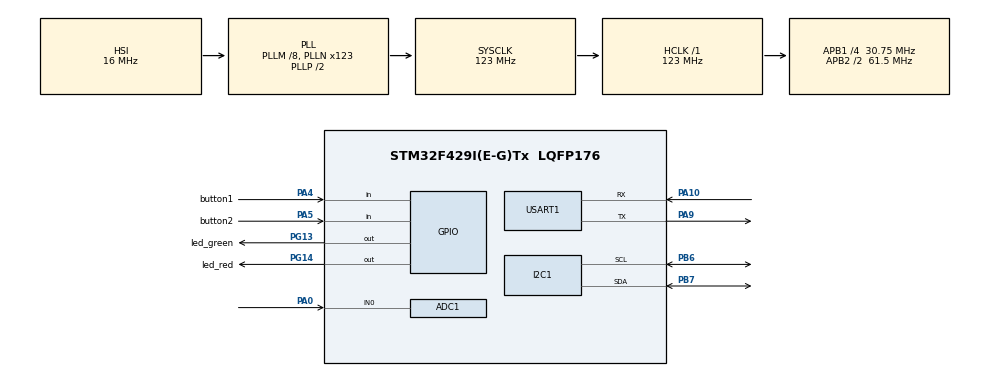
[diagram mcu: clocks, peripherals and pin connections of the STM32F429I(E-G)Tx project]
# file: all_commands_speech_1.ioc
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ADC1.Channel-0\#ChannelRegularConversion=ADC_CHANNEL_0
ADC1.ClockPrescaler=ADC_CLOCK_SYNC_PCLK_DIV8
ADC1.ContinuousConvMode=ENABLE
ADC1.DMAContinuousRequests=ENABLE
ADC1.NbrOfConversion=1
ADC1.NbrOfConversionFlag=1
ADC1.Rank-0\#ChannelRegularConversion=1
ADC1.SamplingTime-0\#ChannelRegularConversion=ADC_SAMPLETIME_480CYCLES
ADC1.master=1
Dma.ADC1.0.Direction=DMA_PERIPH_TO_MEMORY
Dma.ADC1.0.FIFOMode=DMA_FIFOMODE_DISABLE
Dma.ADC1.0.Instance=DMA2_Stream0
Dma.ADC1.0.MemDataAlignment=DMA_MDATAALIGN_HALFWORD
Dma.ADC1.0.MemInc=DMA_MINC_ENABLE
Dma.ADC1.0.Mode=DMA_NORMAL
Dma.ADC1.0.PeriphDataAlignment=DMA_PDATAALIGN_HALFWORD
Dma.ADC1.0.PeriphInc=DMA_PINC_DISABLE
Dma.ADC1.0.Priority=DMA_PRIORITY_LOW
Dma.Request0=ADC1
Mcu.Family=STM32F4
Mcu.Name=STM32F429I(E-G)Tx
Mcu.Package=LQFP176
NVIC.ADC_IRQn=true\:0\:0\:false\:false\:true\:true\:true\:true
NVIC.DMA2_Stream0_IRQn=true\:0\:0\:false\:false\:true\:false\:true\:true
NVIC.PriorityGroup=NVIC_PRIORITYGROUP_4
PA0/WKUP.Signal=ADCx_IN0
PA10.Mode=Asynchronous
PA10.Signal=USART1_RX
PA13.Mode=Serial_Wire
PA13.Signal=SYS_JTMS-SWDIO
PA14.Mode=Serial_Wire
PA14.Signal=SYS_JTCK-SWCLK
PA4.GPIO_Label=button1
PA4.GPIO_PuPd=GPIO_PULLUP
PA4.Signal=GPIO_Input
PA5.GPIO_Label=button2
PA5.GPIO_PuPd=GPIO_PULLUP
PA5.Signal=GPIO_Input
PA9.Mode=Asynchronous
PA9.Signal=USART1_TX
PB6.Mode=I2C
PB6.Signal=I2C1_SCL
PB7.Mode=I2C
PB7.Signal=I2C1_SDA
PG13.GPIO_Label=led_green
PG13.Signal=GPIO_Output
PG14.GPIO_Label=led_red
PG14.Signal=GPIO_Output
ProjectManager.HeapSize=0x800
ProjectManager.StackSize=0x800
ProjectManager.TargetToolchain=MDK-ARM V5.32
RCC.48MHZClocksFreq_Value=61500000
RCC.AHBFreq_Value=123000000
RCC.APB1CLKDivider=RCC_HCLK_DIV4
RCC.APB1Freq_Value=30750000
RCC.APB1TimFreq_Value=61500000
RCC.APB2CLKDivider=RCC_HCLK_DIV2
RCC.APB2Freq_Value=61500000
RCC.APB2TimFreq_Value=123000000
RCC.CortexFreq_Value=123000000
RCC.HCLKFreq_Value=123000000
RCC.HSE_VALUE=25000000
RCC.HSI_VALUE=16000000
RCC.LSE_VALUE=32768
RCC.PLLM=8
RCC.PLLN=123
RCC.SYSCLKFreq_VALUE=123000000
RCC.SYSCLKSource=RCC_SYSCLKSOURCE_PLLCLK
RCC.VCOOutputFreq_Value=246000000
SH.ADCx_IN0.0=ADC1_IN0,IN0
STMicroelectronics.X-CUBE-AI.8.1.0.ActivationBufferSizeList=16808
STMicroelectronics.X-CUBE-AI.8.1.0.ActivationBuffers=pool0
STMicroelectronics.X-CUBE-AI.8.1.0.ActivationNames=pool0
STMicroelectronics.X-CUBE-AI.8.1.0.ActivationSizes=AI_SPEECH_MODEL_DATA_ACTIVATION_1_SIZE
STMicroelectronics.X-CUBE-AI.8.1.0.ApplicationCcDeviceJjApplication=ApplicationTemplate
STMicroelectronics.X-CUBE-AI.8.1.0.HeapSize=0x800
STMicroelectronics.X-CUBE-AI.8.1.0.InternalRamActivationBufferMaxSize=AI_SPEECH_MODEL_DATA_ACTIVATIONS_SIZE
STMicroelectronics.X-CUBE-AI.8.1.0.LatestDirectoryUsed-de85f7ff48d45f626f40a739e4144be6b33b646d886b88fbe4cd4896c74ca420=D\:\\stm\\data
STMicroelectronics.X-CUBE-AI.8.1.0.MaximumNumberOfInputLayer=1
STMicroelectronics.X-CUBE-AI.8.1.0.MaximumNumberOfOutputLayer=1
STMicroelectronics.X-CUBE-AI.8.1.0.MaximumSizeOfInputLayer=1
STMicroelectronics.X-CUBE-AI.8.1.0.MaximumSizeOfOutputLayer=1
STMicroelectronics.X-CUBE-AI.8.1.0.ModelActualCompression-de85f7ff48d45f626f40a739e4144be6b33b646d886b88fbe4cd4896c74ca420=0.0
STMicroelectronics.X-CUBE-AI.8.1.0.ModelCompression-de85f7ff48d45f626f40a739e4144be6b33b646d886b88fbe4cd4896c74ca420=None
STMicroelectronics.X-CUBE-AI.8.1.0.ModelFlashOccupation-de85f7ff48d45f626f40a739e4144be6b33b646d886b88fbe4cd4896c74ca420=191746
STMicroelectronics.X-CUBE-AI.8.1.0.ModelHashList=de85f7ff48d45f626f40a739e4144be6b33b646d886b88fbe4cd4896c74ca420
STMicroelectronics.X-CUBE-AI.8.1.0.ModelKind-de85f7ff48d45f626f40a739e4144be6b33b646d886b88fbe4cd4896c74ca420=TFLITE
STMicroelectronics.X-CUBE-AI.8.1.0.ModelMacc-de85f7ff48d45f626f40a739e4144be6b33b646d886b88fbe4cd4896c74ca420=243888
STMicroelectronics.X-CUBE-AI.8.1.0.ModelName-de85f7ff48d45f626f40a739e4144be6b33b646d886b88fbe4cd4896c74ca420=speech_model
STMicroelectronics.X-CUBE-AI.8.1.0.ModelNameList=speech_model
STMicroelectronics.X-CUBE-AI.8.1.0.ModelRamOccupation-de85f7ff48d45f626f40a739e4144be6b33b646d886b88fbe4cd4896c74ca420=16808
STMicroelectronics.X-CUBE-AI.8.1.0.ModelStructureFile-de85f7ff48d45f626f40a739e4144be6b33b646d886b88fbe4cd4896c74ca420=D\:\\stm\\data\\speech-commands-model-not.tflite
STMicroelectronics.X-CUBE-AI.8.1.0.ModelType-de85f7ff48d45f626f40a739e4144be6b33b646d886b88fbe4cd4896c74ca420=STM32Cube.AI runtime
STMicroelectronics.X-CUBE-AI.8.1.0.ReadyForCodeGeneration=true
STMicroelectronics.X-CUBE-AI.8.1.0.StackSize=0x800
STMicroelectronics.X-CUBE-AI.8.1.0.WorkingBufferStartAddrList=0xFFFFFFFF
STMicroelectronics.X-CUBE-AI.8.1.0.XAaCUBEAaAICcArtificialOoIntelligenceJjCore=true
STMicroelectronics.X-CUBE-AI.8.1.0.copyWeightToRam=false
STMicroelectronics.X-CUBE-AI.8.1.0.customLayerConfigEnabled=false
STMicroelectronics.X-CUBE-AI.8.1.0.noOnnxIoTranspose=false
STMicroelectronics.X-CUBE-AI.8.1.0.useInputAllocation=true
STMicroelectronics.X-CUBE-AI.8.1.0.useOutputAllocation=true
TIM1.Prescaler=123-1
USART1.VirtualMode=VM_ASYNC
VP_CRC_VS_CRC.Mode=CRC_Activate
VP_STMicroelectronics.X-CUBE-AI_VS_ArtificialOoIntelligenceJjXAaCUBEAaAI_8.1.0.Mode=ArtificialOoIntelligenceJjXAaCUBEAaAI
VP_STMicroelectronics.X-CUBE-AI_VS_DeviceJjApplication_8.1.0.Mode=DeviceJjApplication
VP_TIM1_VS_ClockSourceINT.Mode=Internal
board=custom

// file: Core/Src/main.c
/* USER CODE BEGIN Header */
/**
  ******************************************************************************
  * @file           : main.c
  * @brief          : Main program body
  ******************************************************************************
  * @attention
  *
  * Copyright (c) 2024 STMicroelectronics.
  * All rights reserved.
  *
  * This software is licensed under terms that can be found in the LICENSE file
  * in the root directory of this software component.
  * If no LICENSE file comes with this software, it is provided AS-IS.
  *
  ******************************************************************************
  */
/* USER CODE END Header */
#include "main.h"
#include "app_x-cube-ai.h"

/* USER CODE BEGIN Includes */
#include "stdlib.h"
#include "string.h"
#include "stdio.h"
#include "arm_math.h"
//#include "math_helper.h"
#include "feature_extraction.h"

#include "speech_model.h"
#include "speech_model_data.h"

#include "i2c-lcd.h"
/* USER CODE END Includes */

/* USER CODE BEGIN PTD */
#define SAMPLE_RATE  16000U

/* Number of FFT points. It must be greater or equal to FRAME_LEN */
#define FFT_LEN       2048U

/* Window length and then padded with zeros to match FFT_LEN */
#define FRAME_LEN   FFT_LEN

/* Number of overlapping samples between successive frames */
#define HOP_LEN        512U

/* Number of Mel bands */
#define NUM_MELS       128U

/* Number of Mel filter weights. Returned by MelFilterbank_Init */
#define NUM_MEL_COEFS 2020U

/* Number of MFCCs to return */
#define NUM_MFCC        16U

#define PCM_BUFFER_SIZE 15872
#define DICTIONARY_SIZE 38
/* USER CODE END PTD */

/* USER CODE BEGIN PD */
const char _BACKGROUND_NOISE_[] = "_background_noise_";
const char _SILENCE_[] = "_silence_";
const char _UNKNOWN_[] = "_unknown_";
const char BACKWARD[] = "backward";
const char BED[] = "bed";
const char BIRD[] = "bird";
const char CAT[] = "cat";
const char DOG[] = "dog";
const char DOWN[] = "down";
const char EIGHT[] = "eight";
const char FIVE[] = "five";
const char FOLLOW[] = "follow";
const char FORWARD[] = "forward";
const char FOUR[] = "four";
const char GO[] = "go";
const char HAPPY[] = "happy";
const char HOUSE[] = "house";
const char LEARN[] = "learn";
const char LEFT[] = "left";
const char MARVIN[] = "marvin";
const char NINE[] = "nine";
const char NO[] = "no";
const char OFF[] = "off";
const char ON[] = "on";
const char ONE[] = "one";
const char RIGHT[] = "right";
const char SEVEN[] = "seven";
const char SHEILA[] = "sheila";
const char SIX[] = "six";
const char STOP[] = "stop";
const char THREE[] = "three";
const char TREE[] = "tree";
const char TWO[] = "two";
const char UP[] = "up";
const char VISUAL[] = "visual";
const char WOW[] = "wow";
const char YES[] = "yes";
const char ZERO[] = "zero";

static const char *dictionary[DICTIONARY_SIZE] = { _BACKGROUND_NOISE_,
		_SILENCE_, _UNKNOWN_, BACKWARD, BED, BIRD, CAT, DOG, DOWN, EIGHT, FIVE,
		FOLLOW, FORWARD, FOUR, GO, HAPPY, HOUSE, LEARN, LEFT, MARVIN, NINE, NO,
		OFF, ON, ONE, RIGHT, SEVEN, SHEILA, SIX, STOP, THREE, TREE, TWO, UP,
		VISUAL, WOW, YES, ZERO };

char data[50];
		/* Instance for floating-point RFFT/RIFFT */
arm_rfft_fast_instance_f32 rfft;

/* Instance for the floating-point MelFilterbank function */
MelFilterTypeDef mel_filter;

/* Instance for the floating-point DCT functions */
DCT_InstanceTypeDef dct;

/* Instance for the floating-point Spectrogram function */
SpectrogramTypeDef spectrogram;

/* Instance for the floating-point MelSpectrogram function */
MelSpectrogramTypeDef mel_spectrogram;

/* Instance for the floating-point Log-MelSpectrogram function */
LogMelSpectrogramTypeDef log_mel_spectrogram;

/* Instance for the floating-point Mfcc function */
MfccTypeDef mfcc;

/* Intermediate buffer that contains a signal frame */
float32_t frame_buffer[FRAME_LEN];

/* Intermediate buffer that contains Mel-Frequency Cepstral Coefficients (MFCCs) column  */
float32_t mfcc_col_buffer[NUM_MFCC];

/* Intermediate buffer that contains the window function  */
float32_t window_func_buffer[FRAME_LEN];

/* Temporary calculation buffer of length `FFT_LEN` */
float32_t spectrogram_scratch_buffer[FFT_LEN];

/* Intermediate buffer that contains the Discrete Cosine Transform coefficients */
float32_t dct_coefs_buffer[NUM_MELS * NUM_MFCC];

/* Temporary calculation buffer of length `NUM_MELS` */
float32_t mfcc_scratch_buffer[NUM_MELS];

/*Intermediate buffer that contains the Mel filter weights of length `NUM_MEL_COEFS` */
float32_t mel_filter_coefs[NUM_MEL_COEFS];

/* Intermediate buffer that contains the Mel filter coefficients start indices */
uint32_t mel_filter_start_indices[NUM_MELS];

/* Intermediate buffer that contains the Mel filter coefficients stop indices */
uint32_t mel_filter_stop_indices[NUM_MELS];

/* Number of frames of the input signal */
uint32_t num_frames = 1 + (PCM_BUFFER_SIZE - FRAME_LEN) / HOP_LEN;

volatile uint8_t Inference_Mode = 0; //Indicate if all the data is transferred to be inference
int16_t ADC_buffer[PCM_BUFFER_SIZE];
/* USER CODE END PD */

/* USER CODE BEGIN PM */
AI_ALIGNED(4) ai_u8 activations[AI_SPEECH_MODEL_DATA_ACTIVATIONS_SIZE];

/* Buffers used to store input and output tensors */
AI_ALIGNED(4) ai_float in_data[AI_SPEECH_MODEL_IN_1_SIZE_BYTES];
AI_ALIGNED(4) ai_float out_data[AI_SPEECH_MODEL_OUT_1_SIZE_BYTES];

ai_buffer *ai_input; // khai bao du lieu dau vao chuan cua mang neral
ai_buffer *ai_output; // khai bao du lieu dau ra chuan cua mang neral
float out_infer, out_infer_stop;
float count =0;
uint32_t time_start=0;
/* USER CODE END PM */

ADC_HandleTypeDef hadc1;
DMA_HandleTypeDef hdma_adc1;

CRC_HandleTypeDef hcrc;

I2C_HandleTypeDef hi2c1;

TIM_HandleTypeDef htim1;

UART_HandleTypeDef huart1;

void SystemClock_Config(void);
static void MX_GPIO_Init(void);
static void MX_DMA_Init(void);
static void MX_ADC1_Init(void);
static void MX_I2C1_Init(void);
static void MX_TIM1_Init(void);
static void MX_USART1_UART_Init(void);
static void MX_CRC_Init(void);
/* USER CODE BEGIN PFP */
void preprocessing_init(void){
	/* Init window function */
	if (Window_Init(window_func_buffer, FRAME_LEN, WINDOW_HANN) != 0) {
		while (1)
			;
	}

	/* Init RFFT */
	arm_rfft_fast_init_f32(&rfft, FFT_LEN);

	/* Init mel filterbank */
	mel_filter.pStartIndices = mel_filter_start_indices;
	mel_filter.pStopIndices = mel_filter_stop_indices;
	mel_filter.pCoefficients = mel_filter_coefs;
	mel_filter.NumMels = NUM_MELS;
	mel_filter.FFTLen = FFT_LEN;
	mel_filter.SampRate = SAMPLE_RATE;
	mel_filter.FMin = 0.0;
	mel_filter.FMax = mel_filter.SampRate / 2.0;
	mel_filter.Formula = MEL_SLANEY;
	mel_filter.Normalize = 1;
	mel_filter.Mel2F = 1;
	MelFilterbank_Init(&mel_filter);
	if (mel_filter.CoefficientsLength != NUM_MEL_COEFS) {
		while (1)
			;
	}

	/* Init DCT operation */
	dct.NumFilters = NUM_MFCC;
	dct.NumInputs = NUM_MELS;
	dct.Type = DCT_TYPE_II_ORTHO;
	dct.RemoveDCTZero = 0;
	dct.pDCTCoefs = dct_coefs_buffer;
	if (DCT_Init(&dct) != 0) {
		while (1)
			;
	}

	/* Init Spectrogram */
	spectrogram.pRfft = &rfft;
	spectrogram.Type = SPECTRUM_TYPE_POWER;
	spectrogram.pWindow = window_func_buffer;
	spectrogram.SampRate = SAMPLE_RATE;
	spectrogram.FrameLen = FRAME_LEN;
	spectrogram.FFTLen = FFT_LEN;
	spectrogram.pScratch = spectrogram_scratch_buffer;

	/* Init MelSpectrogram */
	mel_spectrogram.SpectrogramConf = &spectrogram;
	mel_spectrogram.MelFilter = &mel_filter;

	/* Init LogMelSpectrogram */
	log_mel_spectrogram.MelSpectrogramConf = &mel_spectrogram;
	log_mel_spectrogram.LogFormula = LOGMELSPECTROGRAM_SCALE_DB;
	log_mel_spectrogram.Ref = 1.0;
	log_mel_spectrogram.TopdB = HUGE_VALF;

	/* Init MFCC */
	mfcc.LogMelConf = &log_mel_spectrogram;
	mfcc.pDCT = &dct;
	mfcc.NumMfccCoefs = NUM_MFCC;
	mfcc.pScratch = mfcc_scratch_buffer;
}
void HAL_ADC_ConvCpltCallback(ADC_HandleTypeDef* hadc)
{
  /* Prevent unused argument(s) compilation warning */
  UNUSED(hadc);
	if (hadc == &hadc1){
	//if (hadc->Instance == ADC1){
	//Bi?n thТng bАo nh?n d? 16896 d? li?u d? th?c hi?n Inference trЙn mТ hЛnh
		Inference_Mode = 1;
	}
  /* NOTE : This function Should not be modified, when the callback is needed,
            the HAL_ADC_ConvCpltCallback could be implemented in the user file
   */
}
void preprocess_audio(void) {

	for (uint32_t frame_index = 0; frame_index < num_frames; frame_index++) {

		/* Convert 16-bit PCM into normalized floating point values */
		//buf_to_float_normed(&input_signal[HOP_LEN * frame_index], frame_buffer, FRAME_LEN);
		for(uint16_t i = 0; i < 2048; i++){
			frame_buffer[i]=(ADC_buffer[frame_index * HOP_LEN + i]-2047.0)/2047.0;
		}

		MfccColumn(&mfcc, frame_buffer, mfcc_col_buffer);

		/* Reshape column into `out_mfcc` */
		for (uint32_t i = 0; i < NUM_MFCC; i++) {
			in_data[i * num_frames + frame_index] = mfcc_col_buffer[i];
		}
	}
}
uint8_t idx;
ai_float max_f;
void get_word(){
	idx = 0;
	max_f = out_data[0];
	ai_float tmp;

	for (uint8_t i = 1; i < DICTIONARY_SIZE; i++) {
		tmp = out_data[i];
		if (tmp > max_f) {
			max_f = tmp;
			idx = i;
		}
	}
	if(idx == 29){
		HAL_GPIO_TogglePin(led_green_GPIO_Port, led_green_Pin);

		lcd_put_cur(1, 1);
		sprintf(data, "accuracy: %.2f", max_f);
		lcd_send_string(&data[0]);
	}
	//char *kq = dictionary[idx];
}
/* USER CODE END PFP */

int main(void)
{
  /* USER CODE BEGIN 1 */
	ai_error err;
	ai_network_report report;
	ai_handle speech_model = AI_HANDLE_NULL;
  /* USER CODE END 1 */

  /* MCU Configuration--------------------------------------------------------*/

  /* Reset of all peripherals, Initializes the Flash interface and the Systick. */
  HAL_Init();

  /* Configure the system clock */
  SystemClock_Config();

  /* Initialize all configured peripherals */
  MX_GPIO_Init();
  MX_DMA_Init();
  MX_ADC1_Init();
  MX_I2C1_Init();
  MX_TIM1_Init();
  MX_USART1_UART_Init();
  MX_CRC_Init();
  //MX_X_CUBE_AI_Init();
  /* USER CODE BEGIN 2 */
	//----Khoi tao lcd----------------
	lcd_init();
	lcd_clear();
	lcd_put_cur(0,3);
	lcd_send_string("Word: stop");
	//---------------------
	preprocessing_init();
	HAL_ADC_Start_DMA(&hadc1, (uint32_t*)ADC_buffer, PCM_BUFFER_SIZE);
	//----Khoi tao model----------------
	  const ai_handle acts[] = { activations };
    err = ai_speech_model_create_and_init(&speech_model, acts, NULL);  // tao model

    if (err.type != AI_ERROR_NONE) {
        printf("ai init_and_create error\n");
        return -1;
    }
		if (ai_speech_model_get_report(speech_model, &report) != true) {
        printf("ai get report error\n");
        return -1;
    }
//------ In thong tin model ---------------
		printf("Model name      : %s\n", report.model_name);
    printf("Model signature : %s\n", report.model_signature);

    ai_input = &report.inputs[0];
    ai_output = &report.outputs[0];
    printf("input[0] : (%d, %d, %d)\n", AI_BUFFER_SHAPE_ELEM(ai_input, AI_SHAPE_HEIGHT),
                                        AI_BUFFER_SHAPE_ELEM(ai_input, AI_SHAPE_WIDTH),
                                        AI_BUFFER_SHAPE_ELEM(ai_input, AI_SHAPE_CHANNEL));
    printf("output[0] : (%d, %d, %d)\n", AI_BUFFER_SHAPE_ELEM(ai_output, AI_SHAPE_HEIGHT),
                                         AI_BUFFER_SHAPE_ELEM(ai_output, AI_SHAPE_WIDTH),
                                         AI_BUFFER_SHAPE_ELEM(ai_output, AI_SHAPE_CHANNEL));

//-- Doc cau truc data input, data output cua mang NN
		ai_i32 n_batch;
		ai_input = ai_speech_model_inputs_get(speech_model, NULL);
    ai_output = ai_speech_model_outputs_get(speech_model, NULL);

//---- gan data vao mang NN
		ai_input[0].data = AI_HANDLE_PTR(in_data);
    ai_output[0].data = AI_HANDLE_PTR(out_data);

//--- Start timer/counter
		HAL_TIM_Base_Start(&htim1);
  /* USER CODE END 2 */

  /* Infinite loop */
  while (1)
  {

  //MX_X_CUBE_AI_Process();
    /* USER CODE BEGIN 3 */
		if(Inference_Mode == 1){
			preprocess_audio();

			/*-----------AI_run_start---------*/

//---Get current timestamp
    time_start = htim1.Instance->CNT;
//----- Run model
		n_batch = ai_speech_model_run(speech_model, &ai_input[0], &ai_output[0]);
	  if (n_batch != 1) {
        err = ai_speech_model_get_error(speech_model);
        printf("ai run error %d, %d\n", err.type, err.code);
      return -1;
    }
		out_infer = ((float *)out_data)[0]; // chuyen 4bytes int -> float
		out_infer_stop = ((float *)out_data)[29];
//    for (int i = 0; i < AI_SIN_MODEL_OUT_1_SIZE; i++) {
//        printf("%d", out_data[i]);
//    }
		sprintf(&data[0], "\nInference times : %d", htim1.Instance->CNT - time_start);
		HAL_UART_Transmit(&huart1, (uint8_t *)data, strlen(data), 100);

		printf("\nInference times:%d",htim1.Instance->CNT - time_start);
    printf("\nInference output:%f",out_infer);
//---------------------------------------
		//HAL_UART_Transmit(&huart2, M, strlen(M), 1000);
			/*-----------AI_run_stop---------*/
			get_word();
			memset(ADC_buffer, 0, PCM_BUFFER_SIZE * 2);
			Inference_Mode = 0;
			HAL_ADC_Start_DMA(&hadc1, (uint32_t*)ADC_buffer, PCM_BUFFER_SIZE);
		}
  }
  /* USER CODE END 3 */
}

void SystemClock_Config(void)
{
  RCC_OscInitTypeDef RCC_OscInitStruct = {0};
  RCC_ClkInitTypeDef RCC_ClkInitStruct = {0};

  /** Configure the main internal regulator output voltage
  */
  __HAL_RCC_PWR_CLK_ENABLE();
  __HAL_PWR_VOLTAGESCALING_CONFIG(PWR_REGULATOR_VOLTAGE_SCALE2);

  /** Initializes the RCC Oscillators according to the specified parameters
  * in the RCC_OscInitTypeDef structure.
  */
  RCC_OscInitStruct.OscillatorType = RCC_OSCILLATORTYPE_HSI;
  RCC_OscInitStruct.HSIState = RCC_HSI_ON;
  RCC_OscInitStruct.HSICalibrationValue = RCC_HSICALIBRATION_DEFAULT;
  RCC_OscInitStruct.PLL.PLLState = RCC_PLL_ON;
  RCC_OscInitStruct.PLL.PLLSource = RCC_PLLSOURCE_HSI;
  RCC_OscInitStruct.PLL.PLLM = 8;
  RCC_OscInitStruct.PLL.PLLN = 123;
  RCC_OscInitStruct.PLL.PLLP = RCC_PLLP_DIV2;
  RCC_OscInitStruct.PLL.PLLQ = 4;
  if (HAL_RCC_OscConfig(&RCC_OscInitStruct) != HAL_OK)
  {
    Error_Handler();
  }

  /** Initializes the CPU, AHB and APB buses clocks
  */
  RCC_ClkInitStruct.ClockType = RCC_CLOCKTYPE_HCLK|RCC_CLOCKTYPE_SYSCLK
                              |RCC_CLOCKTYPE_PCLK1|RCC_CLOCKTYPE_PCLK2;
  RCC_ClkInitStruct.SYSCLKSource = RCC_SYSCLKSOURCE_PLLCLK;
  RCC_ClkInitStruct.AHBCLKDivider = RCC_SYSCLK_DIV1;
  RCC_ClkInitStruct.APB1CLKDivider = RCC_HCLK_DIV4;
  RCC_ClkInitStruct.APB2CLKDivider = RCC_HCLK_DIV2;

  if (HAL_RCC_ClockConfig(&RCC_ClkInitStruct, FLASH_LATENCY_4) != HAL_OK)
  {
    Error_Handler();
  }
}

static void MX_ADC1_Init(void)
{

  ADC_ChannelConfTypeDef sConfig = {0};

  /** Configure the global features of the ADC (Clock, Resolution, Data Alignment and number of conversion)
  */
  hadc1.Instance = ADC1;
  hadc1.Init.ClockPrescaler = ADC_CLOCK_SYNC_PCLK_DIV8;
  hadc1.Init.Resolution = ADC_RESOLUTION_12B;
  hadc1.Init.ScanConvMode = DISABLE;
  hadc1.Init.ContinuousConvMode = ENABLE;
  hadc1.Init.DiscontinuousConvMode = DISABLE;
  hadc1.Init.ExternalTrigConvEdge = ADC_EXTERNALTRIGCONVEDGE_NONE;
  hadc1.Init.ExternalTrigConv = ADC_SOFTWARE_START;
  hadc1.Init.DataAlign = ADC_DATAALIGN_RIGHT;
  hadc1.Init.NbrOfConversion = 1;
  hadc1.Init.DMAContinuousRequests = ENABLE;
  hadc1.Init.EOCSelection = ADC_EOC_SINGLE_CONV;
  if (HAL_ADC_Init(&hadc1) != HAL_OK)
  {
    Error_Handler();
  }

  /** Configure for the selected ADC regular channel its corresponding rank in the sequencer and its sample time.
  */
  sConfig.Channel = ADC_CHANNEL_0;
  sConfig.Rank = 1;
  sConfig.SamplingTime = ADC_SAMPLETIME_480CYCLES;
  if (HAL_ADC_ConfigChannel(&hadc1, &sConfig) != HAL_OK)
  {
    Error_Handler();
  }

}

static void MX_CRC_Init(void)
{

  hcrc.Instance = CRC;
  if (HAL_CRC_Init(&hcrc) != HAL_OK)
  {
    Error_Handler();
  }

}

static void MX_I2C1_Init(void)
{

  hi2c1.Instance = I2C1;
  hi2c1.Init.ClockSpeed = 100000;
  hi2c1.Init.DutyCycle = I2C_DUTYCYCLE_2;
  hi2c1.Init.OwnAddress1 = 0;
  hi2c1.Init.AddressingMode = I2C_ADDRESSINGMODE_7BIT;
  hi2c1.Init.DualAddressMode = I2C_DUALADDRESS_DISABLE;
  hi2c1.Init.OwnAddress2 = 0;
  hi2c1.Init.GeneralCallMode = I2C_GENERALCALL_DISABLE;
  hi2c1.Init.NoStretchMode = I2C_NOSTRETCH_DISABLE;
  if (HAL_I2C_Init(&hi2c1) != HAL_OK)
  {
    Error_Handler();
  }

  /** Configure Analogue filter
  */
  if (HAL_I2CEx_ConfigAnalogFilter(&hi2c1, I2C_ANALOGFILTER_ENABLE) != HAL_OK)
  {
    Error_Handler();
  }

  /** Configure Digital filter
  */
  if (HAL_I2CEx_ConfigDigitalFilter(&hi2c1, 0) != HAL_OK)
  {
    Error_Handler();
  }

}

static void MX_TIM1_Init(void)
{

  TIM_ClockConfigTypeDef sClockSourceConfig = {0};
  TIM_MasterConfigTypeDef sMasterConfig = {0};

  htim1.Instance = TIM1;
  htim1.Init.Prescaler = 123-1;
  htim1.Init.CounterMode = TIM_COUNTERMODE_UP;
  htim1.Init.Period = 65535;
  htim1.Init.ClockDivision = TIM_CLOCKDIVISION_DIV1;
  htim1.Init.RepetitionCounter = 0;
  htim1.Init.AutoReloadPreload = TIM_AUTORELOAD_PRELOAD_DISABLE;
  if (HAL_TIM_Base_Init(&htim1) != HAL_OK)
  {
    Error_Handler();
  }
  sClockSourceConfig.ClockSource = TIM_CLOCKSOURCE_INTERNAL;
  if (HAL_TIM_ConfigClockSource(&htim1, &sClockSourceConfig) != HAL_OK)
  {
    Error_Handler();
  }
  sMasterConfig.MasterOutputTrigger = TIM_TRGO_RESET;
  sMasterConfig.MasterSlaveMode = TIM_MASTERSLAVEMODE_DISABLE;
  if (HAL_TIMEx_MasterConfigSynchronization(&htim1, &sMasterConfig) != HAL_OK)
  {
    Error_Handler();
  }

}

static void MX_USART1_UART_Init(void)
{

  huart1.Instance = USART1;
  huart1.Init.BaudRate = 115200;
  huart1.Init.WordLength = UART_WORDLENGTH_8B;
  huart1.Init.StopBits = UART_STOPBITS_1;
  huart1.Init.Parity = UART_PARITY_NONE;
  huart1.Init.Mode = UART_MODE_TX_RX;
  huart1.Init.HwFlowCtl = UART_HWCONTROL_NONE;
  huart1.Init.OverSampling = UART_OVERSAMPLING_16;
  if (HAL_UART_Init(&huart1) != HAL_OK)
  {
    Error_Handler();
  }

}

static void MX_DMA_Init(void)
{

  /* DMA controller clock enable */
  __HAL_RCC_DMA2_CLK_ENABLE();

  /* DMA interrupt init */
  /* DMA2_Stream0_IRQn interrupt configuration */
  HAL_NVIC_SetPriority(DMA2_Stream0_IRQn, 0, 0);
  HAL_NVIC_EnableIRQ(DMA2_Stream0_IRQn);

}

static void MX_GPIO_Init(void)
{
  GPIO_InitTypeDef GPIO_InitStruct = {0};

  /* GPIO Ports Clock Enable */
  __HAL_RCC_GPIOA_CLK_ENABLE();
  __HAL_RCC_GPIOG_CLK_ENABLE();
  __HAL_RCC_GPIOB_CLK_ENABLE();

  /*Configure GPIO pin Output Level */
  HAL_GPIO_WritePin(GPIOG, led_green_Pin|led_red_Pin, GPIO_PIN_RESET);

  /*Configure GPIO pins : button1_Pin button2_Pin */
  GPIO_InitStruct.Pin = button1_Pin|button2_Pin;
  GPIO_InitStruct.Mode = GPIO_MODE_INPUT;
  GPIO_InitStruct.Pull = GPIO_PULLUP;
  HAL_GPIO_Init(GPIOA, &GPIO_InitStruct);

  /*Configure GPIO pins : led_green_Pin led_red_Pin */
  GPIO_InitStruct.Pin = led_green_Pin|led_red_Pin;
  GPIO_InitStruct.Mode = GPIO_MODE_OUTPUT_PP;
  GPIO_InitStruct.Pull = GPIO_NOPULL;
  GPIO_InitStruct.Speed = GPIO_SPEED_FREQ_LOW;
  HAL_GPIO_Init(GPIOG, &GPIO_InitStruct);

}

void Error_Handler(void)
{
  __disable_irq();
  while (1)
  {
  }
}
